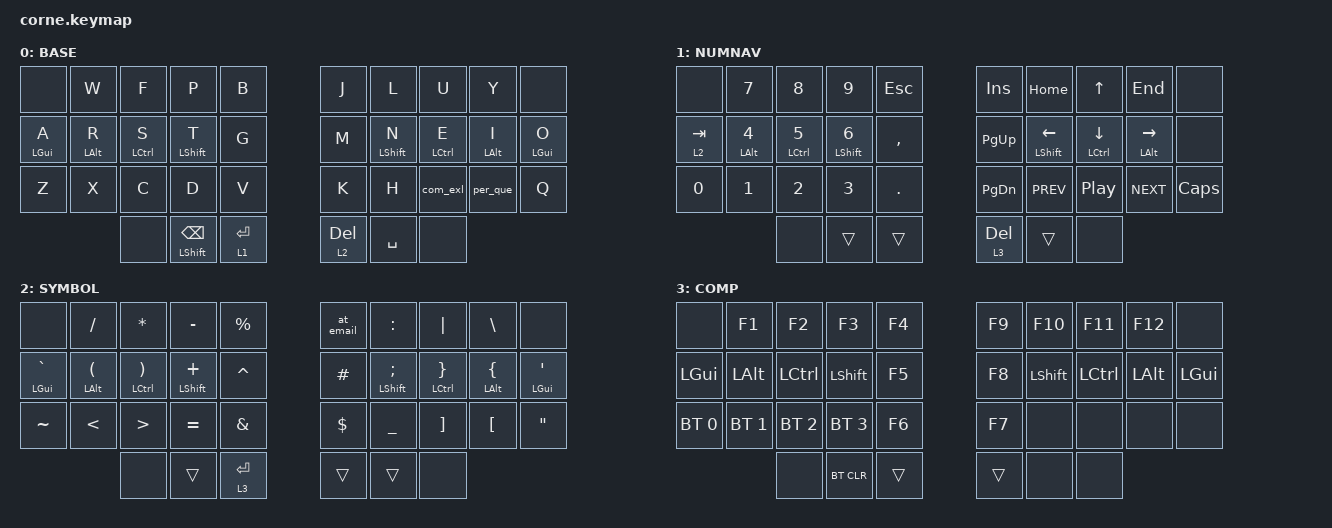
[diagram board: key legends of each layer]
/*
 * Copyright (c) 2020 The ZMK Contributors
 *
 * SPDX-License-Identifier: MIT
 */

#include <behaviors.dtsi>
#include <dt-bindings/zmk/bt.h>
#include <dt-bindings/zmk/keys.h>

#define BASE   0
#define NUMNAV 1
#define SYMBOL 2
#define COMP   3

&mt {
    flavor = "balanced";
    tapping-term-ms = <250>;
    quick-tap-ms = <200>;
};

&lt {
    tapping-term-ms = <250>;
    quick-tap-ms = <200>;
};

/ {
    chosen { zmk,matrix-transform = &five_column_transform; };

    behaviors {
        com_exl: comma_exclamation_mark {
            compatible = "zmk,behavior-mod-morph";
            label = "Comma Exclamation Mark";
            bindings = <&kp COMMA>, <&kp EXCL>;

            #binding-cells = <0>;
            mods = <(MOD_LSFT)>;
        };

        per_que: period_question_mark {
            compatible = "zmk,behavior-mod-morph";
            label = "Period Question Mark";
            bindings = <&kp DOT>, <&kp QMARK>;

            #binding-cells = <0>;
            mods = <(MOD_LSFT)>;
        };

        bhm: balanced_homerow_mods {
            compatible = "zmk,behavior-hold-tap";
            label = "Balanced Homerow Mods";
            bindings = <&kp>, <&kp>;

            #binding-cells = <2>;
            tapping-term-ms = <250>;
            flavor = "balanced";
            quick-tap-ms = <200>;
            require-prior-idle-ms = <150>;
        };

        tphm: tap_preferred_homerow_mods {
            compatible = "zmk,behavior-hold-tap";
            label = "Tap Preferred Homerow Mods";
            bindings = <&kp>, <&kp>;

            #binding-cells = <2>;
            tapping-term-ms = <300>;
            flavor = "tap-preferred";
            quick-tap-ms = <200>;
            require-prior-idle-ms = <150>;
        };

        at_email: at_email {
            compatible = "zmk,behavior-tap-dance";
            label = "AT_EMAIL";
            #binding-cells = <0>;
            bindings = <&kp AT>, <&macro_email>;
        };
    };

    combos {
        compatible = "zmk,combos";

        combo_run {
            bindings = <&kp LS(LA(LC(LG(R))))>;
            key-positions = <31 34>;
            layers = <0>;
        };

        combo_lock {
            bindings = <&kp LG(L)>;
            key-positions = <6 7 8>;
            layers = <0>;
        };

        combo_caps_word {
            bindings = <&caps_word>;
            key-positions = <13 16>;
            layers = <0>;
        };

        combo_search {
            bindings = <&kp LC(F)>;
            key-positions = <12 2>;
            layers = <0>;
        };

        combo_copy {
            bindings = <&kp LC(C)>;
            key-positions = <12 22>;
            layers = <0>;
        };

        combo_paren {
            bindings = <&macro_par>;
            key-positions = <11 12>;
            layers = <2>;
        };

        combo_lt_gt {
            bindings = <&macro_lt_gt>;
            key-positions = <21 22>;
            layers = <2>;
        };

        combo_brace {
            bindings = <&macro_brc>;
            key-positions = <17 18>;
            layers = <2>;
        };

        combo_brack {
            bindings = <&macro_bkt>;
            key-positions = <28 27>;
            layers = <2>;
        };
    };

    macros {
        macro_par: macro_par {
            compatible = "zmk,behavior-macro";
            #binding-cells = <0>;
            bindings = <&kp LPAR &kp RPAR &kp LEFT>;
            label = "MACRO_PAR";
        };

        macro_lt_gt: macro_lt_gt {
            compatible = "zmk,behavior-macro";
            #binding-cells = <0>;
            bindings = <&kp LT &kp GT &kp LEFT>;
            label = "MACRO_LT_GT";
        };

        macro_brc: macro_brc {
            compatible = "zmk,behavior-macro";
            #binding-cells = <0>;
            bindings = <&kp LBRC &kp RBRC &kp LEFT>;
            label = "MACRO_BRC";
        };

        macro_bkt: macro_bkt {
            compatible = "zmk,behavior-macro";
            #binding-cells = <0>;
            bindings = <&kp LBKT &kp RBKT &kp LEFT>;
            label = "MACRO_BKT";
        };

        macro_email: macro_email {
            compatible = "zmk,behavior-macro";
            #binding-cells = <0>;
            bindings = <&kp M &kp J &kp H &kp R &kp I &kp E &kp T &kp J &kp E &kp N &kp S &kp AT &kp G &kp M &kp A &kp I &kp L &kp DOT &kp C &kp O &kp M>;
            label = "MACRO_EMAIL";
        };
    };

    keymap {
        compatible = "zmk,keymap";

        BASE {
            bindings = <
  &none         &kp W         &kp F         &kp P            &kp B        &kp J      &kp L         &kp U         &kp Y         &none
  &tphm LGUI A  &tphm LALT R  &bhm LCTRL S  &bhm LSHFT T     &kp G        &kp M      &bhm LSHFT N  &bhm LCTRL E  &tphm LALT I  &tphm LGUI O
  &kp Z         &kp X         &kp C         &kp D            &kp V        &kp K      &kp H         &com_exl      &per_que      &kp Q
                              &none         &mt LSHIFT BSPC  &lt 1 RET    &lt 2 DEL  &kp SPACE     &none
            >;
        };

        NUMNAV {
            bindings = <
  &none      &kp N7         &kp N8          &kp N9          &kp ESC      &kp INS    &kp HOME            &kp UP            &kp END            &none
  &lt 2 TAB  &tphm LALT N4  &tphm LCTRL N5  &tphm LSHFT N6  &kp COMMA    &kp PG_UP  &tphm LSHFT LEFT    &tphm LCTRL DOWN  &tphm LALT RIGHT   &none
  &kp N0     &kp N1         &kp N2          &kp N3          &kp DOT      &kp PG_DN  &kp C_PREV          &kp C_PP          &kp C_NEXT         &kp CAPS
                            &none           &trans          &trans       &lt 3 DEL  &trans              &none
            >;
        };

        SYMBOL {
            bindings = <
  &none             &kp FSLH         &kp ASTRK         &kp MINUS         &kp PRCNT    &at_email  &kp COLON         &kp PIPE          &kp BSLH         &none
  &tphm LGUI GRAVE  &tphm LALT LPAR  &tphm LCTRL RPAR  &tphm LSHFT PLUS  &kp CARET    &kp HASH   &tphm LSHFT SEMI  &tphm LCTRL RBRC  &tphm LALT LBRC  &tphm LGUI SQT
  &kp TILDE         &kp LT           &kp GT            &kp EQUAL         &kp AMPS     &kp DLLR   &kp UNDER         &kp RBKT          &kp LBKT         &kp DQT
                                     &none             &trans            &lt 3 RET    &trans     &trans            &none
            >;
        };

        COMP {
            bindings = <
  &none         &kp F1        &kp F2        &kp F3        &kp F4    &kp F9  &kp F10    &kp F11    &kp F12   &none
  &kp LGUI      &kp LALT      &kp LCTRL     &kp LSHFT     &kp F5    &kp F8  &kp LSHFT  &kp LCTRL  &kp LALT  &kp LGUI
  &bt BT_SEL 0  &bt BT_SEL 1  &bt BT_SEL 2  &bt BT_SEL 3  &kp F6    &kp F7  &none      &none      &none     &none
                              &none         &bt BT_CLR    &trans    &trans  &none      &none
            >;
        };
    };
};
